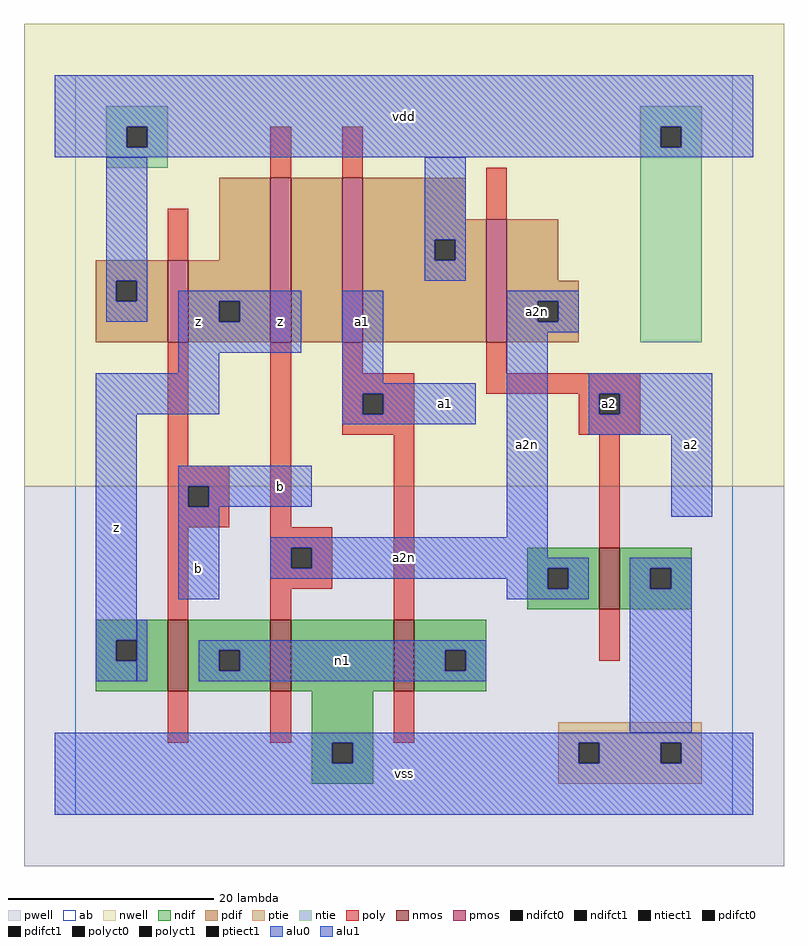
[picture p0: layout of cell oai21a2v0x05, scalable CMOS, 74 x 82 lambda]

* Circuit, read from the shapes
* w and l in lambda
.subckt oai21a2v0x05 a1 a2 a2n b n1 vdd vss z
M1 n1 b z vss nfet w=7 l=2
M2 vss a2n n1 vss nfet w=7 l=2
M3 n1 a1 vss vss nfet w=7 l=2
M4 vss a2 a2n vss nfet w=6 l=2
M5 z b vdd vdd pfet w=8 l=2
M6 n2 a2n z vdd pfet w=16 l=2
M7 vdd a1 n2 vdd pfet w=16 l=2
M8 a2n a2 vdd vdd pfet w=12 l=2
.ends

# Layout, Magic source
magic
tech scmos
<< ab >>
rect 0 0 64 72
<< nwell >>
rect -5 32 69 77
<< pwell >>
rect -5 -5 69 32
<< poly >>
rect 19 62 21 67
rect 26 62 28 67
rect 9 54 11 59
rect 40 58 42 63
rect 9 34 11 46
rect 9 32 15 34
rect 9 30 11 32
rect 13 30 15 32
rect 9 28 15 30
rect 19 28 21 46
rect 26 43 28 46
rect 40 43 42 46
rect 26 41 33 43
rect 40 41 55 43
rect 26 39 28 41
rect 30 39 33 41
rect 26 37 33 39
rect 49 39 51 41
rect 53 39 55 41
rect 49 37 55 39
rect 9 19 11 28
rect 19 26 25 28
rect 19 24 21 26
rect 23 24 25 26
rect 19 22 25 24
rect 19 19 21 22
rect 31 19 33 37
rect 51 26 53 37
rect 51 15 53 20
rect 9 7 11 12
rect 19 7 21 12
rect 31 7 33 12
<< ndif >>
rect 44 24 51 26
rect 44 22 46 24
rect 48 22 51 24
rect 44 20 51 22
rect 53 24 60 26
rect 53 22 56 24
rect 58 22 60 24
rect 53 20 60 22
rect 2 17 9 19
rect 2 15 4 17
rect 6 15 9 17
rect 2 12 9 15
rect 11 16 19 19
rect 11 14 14 16
rect 16 14 19 16
rect 11 12 19 14
rect 21 12 31 19
rect 33 16 40 19
rect 33 14 36 16
rect 38 14 40 16
rect 33 12 40 14
rect 23 7 29 12
rect 23 5 25 7
rect 27 5 29 7
rect 23 3 29 5
<< pdif >>
rect 14 54 19 62
rect 2 52 9 54
rect 2 50 4 52
rect 6 50 9 52
rect 2 46 9 50
rect 11 50 19 54
rect 11 48 14 50
rect 16 48 19 50
rect 11 46 19 48
rect 21 46 26 62
rect 28 58 38 62
rect 28 56 40 58
rect 28 54 35 56
rect 37 54 40 56
rect 28 46 40 54
rect 42 52 47 58
rect 42 50 49 52
rect 42 48 45 50
rect 47 48 49 50
rect 42 46 49 48
<< alu1 >>
rect -2 67 66 72
rect -2 65 5 67
rect 7 65 57 67
rect 59 65 66 67
rect -2 64 66 65
rect 10 50 22 51
rect 10 48 14 50
rect 16 48 22 50
rect 10 45 22 48
rect 10 43 14 45
rect 2 39 14 43
rect 26 42 30 51
rect 26 41 39 42
rect 26 39 28 41
rect 30 39 39 41
rect 2 17 6 39
rect 26 38 39 39
rect 10 32 23 34
rect 10 30 11 32
rect 13 30 23 32
rect 10 21 14 30
rect 50 41 62 43
rect 50 39 51 41
rect 53 39 62 41
rect 50 37 62 39
rect 58 29 62 37
rect 2 15 4 17
rect 2 13 6 15
rect -2 7 66 8
rect -2 5 25 7
rect 27 5 49 7
rect 51 5 57 7
rect 59 5 66 7
rect -2 0 66 5
<< ptie >>
rect 47 7 61 9
rect 47 5 49 7
rect 51 5 57 7
rect 59 5 61 7
rect 47 3 61 5
<< ntie >>
rect 3 67 9 69
rect 55 67 61 69
rect 3 65 5 67
rect 7 65 9 67
rect 3 63 9 65
rect 55 65 57 67
rect 59 65 61 67
rect 55 46 61 65
<< nmos >>
rect 51 20 53 26
rect 9 12 11 19
rect 19 12 21 19
rect 31 12 33 19
<< pmos >>
rect 9 46 11 54
rect 19 46 21 62
rect 26 46 28 62
rect 40 46 42 58
<< polyct0 >>
rect 21 24 23 26
<< polyct1 >>
rect 11 30 13 32
rect 28 39 30 41
rect 51 39 53 41
<< ndifct0 >>
rect 46 22 48 24
rect 56 22 58 24
rect 14 14 16 16
rect 36 14 38 16
<< ndifct1 >>
rect 4 15 6 17
rect 25 5 27 7
<< ntiect1 >>
rect 5 65 7 67
rect 57 65 59 67
<< ptiect1 >>
rect 49 5 51 7
rect 57 5 59 7
<< pdifct0 >>
rect 4 50 6 52
rect 35 54 37 56
rect 45 48 47 50
<< pdifct1 >>
rect 14 48 16 50
<< alu0 >>
rect 3 52 7 64
rect 34 56 38 64
rect 34 54 35 56
rect 37 54 38 56
rect 34 52 38 54
rect 3 50 4 52
rect 6 50 7 52
rect 3 48 7 50
rect 42 50 49 51
rect 42 48 45 50
rect 47 48 49 50
rect 42 47 49 48
rect 42 27 46 47
rect 19 26 46 27
rect 19 24 21 26
rect 23 25 46 26
rect 23 24 50 25
rect 19 23 46 24
rect 42 22 46 23
rect 48 22 50 24
rect 42 21 50 22
rect 54 24 60 25
rect 54 22 56 24
rect 58 22 60 24
rect 6 13 7 19
rect 12 16 40 17
rect 12 14 14 16
rect 16 14 36 16
rect 38 14 40 16
rect 12 13 40 14
rect 54 8 60 22
<< labels >>
rlabel alu0 26 15 26 15 6 n1
rlabel alu0 32 25 32 25 6 a2n
rlabel alu0 45 49 45 49 6 a2n
rlabel alu0 44 36 44 36 6 a2n
rlabel alu1 4 28 4 28 6 z
rlabel alu1 12 24 12 24 6 b
rlabel alu1 12 48 12 48 6 z
rlabel alu1 20 32 20 32 6 b
rlabel alu1 20 48 20 48 6 z
rlabel alu1 28 48 28 48 6 a1
rlabel alu1 32 4 32 4 6 vss
rlabel alu1 36 40 36 40 6 a1
rlabel alu1 32 68 32 68 6 vdd
rlabel alu1 60 36 60 36 6 a2
rlabel polyct1 52 40 52 40 6 a2
<< end >>
